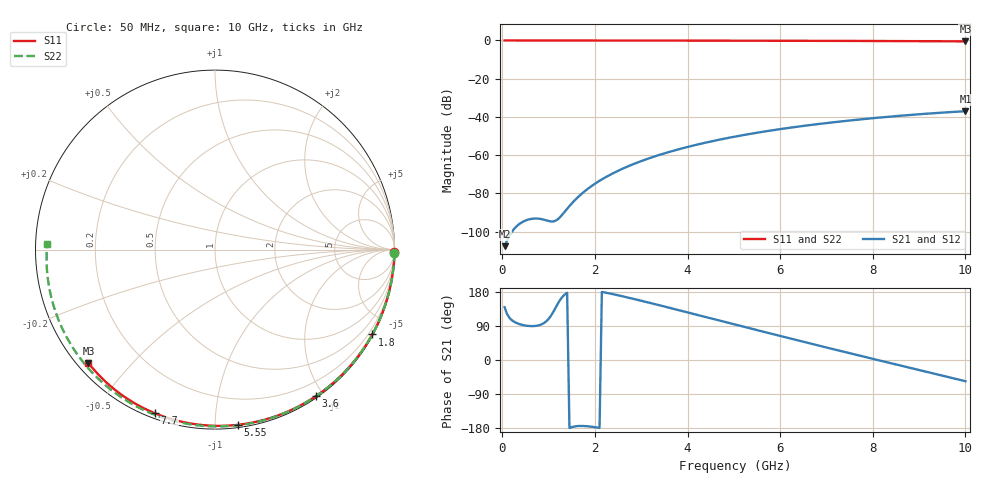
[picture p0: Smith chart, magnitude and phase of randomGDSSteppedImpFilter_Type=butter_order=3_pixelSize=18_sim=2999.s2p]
! freq	dB(S11)	phase(S11)	dB(S12)	phase(S12)
!  dB(S21)	phase(S21)	dB(S22)	phase(S22)
!S-par simulation data
#  GHz  S  DB  R 50
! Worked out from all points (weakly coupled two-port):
!   200 points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, 50 MHz to 10 GHz, reference 50 ohm
!   highest |S21| = -36.99 dB at 10 GHz (marker M1); lowest = -107.6 dB at 50 MHz (marker M2)
!   lowest |S11| = -0.5 dB at 10 GHz (marker M3), VSWR 36.58, Z = 1.57 - j19.1 ohm
!   |S11| at or under -10 dB: nowhere
!   |S22| runs from -0.6 to 0.0 dB; largest |S21 - S12| = 0
!   S11 on the Smith chart (normalised r, x): 50 MHz: open; 1.8 GHz: 0.03, -3.96; 3.6 GHz: 0.02, -1.91; 5.55 GHz: 0.02, -1.14; 7.7 GHz: 0.02, -0.70; 10 GHz: 0.03, -0.38
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0.05  -0.00 -0.8  -107.55 139.3  -107.55 139.3  -0.00 -1.1
0.45  -0.01 -7.2  -94.73 92.1  -94.73 92.1  -0.01 -9.6
0.85  -0.02 -13.5  -93.42 94.2  -93.42 94.2  -0.02 -18.1
1.25  -0.02 -19.8  -92.33 158.8  -92.33 158.8  -0.03 -26.4
1.7  -0.03 -26.8  -80.46 -174.0  -80.46 -174.0  -0.04 -35.7
1.75  -0.04 -27.6  -79.43 -174.1  -79.43 -174.1  -0.05 -36.7
1.8  -0.04 -28.3  -78.44 -174.4  -78.44 -174.4  -0.05 -37.7
2.1  -0.04 -32.9  -73.37 -179.3  -73.37 -179.3  -0.06 -43.8
2.3  -0.05 -36.0  -70.59 176.1  -70.59 176.1  -0.06 -47.8
2.5  -0.05 -39.0  -68.14 170.8  -68.14 170.8  -0.07 -51.8
2.9  -0.06 -45.0  -63.99 159.3  -63.99 159.3  -0.08 -59.6
3.4  -0.07 -52.4  -59.78 144.2  -59.78 144.2  -0.09 -69.2
3.6  -0.07 -55.3  -58.31 138.1  -58.31 138.1  -0.10 -73.0
4.3  -0.09 -65.4  -53.92 116.3  -53.92 116.3  -0.12 -85.9
5.05  -0.12 -75.8  -50.16 92.9  -50.16 92.9  -0.15 -99.1
5.55  -0.14 -82.6  -48.04 77.3  -48.04 77.3  -0.17 -107.8
6.1  -0.16 -89.9  -46.00 60.4  -46.00 60.4  -0.20 -117.0
6.7  -0.19 -97.6  -44.07 42.1  -44.07 42.1  -0.24 -127.0
7.7  -0.25 -110.2  -41.35 12.0  -41.35 12.0  -0.32 -143.3
8.35  -0.30 -118.2  -39.87 -7.3  -39.87 -7.3  -0.38 -154.0
9.2  -0.38 -128.5  -38.23 -32.4  -38.23 -32.4  -0.47 -168.1
10  -0.48 -138.1  -36.99 -56.0  -36.99 -56.0  -0.57 178.2
